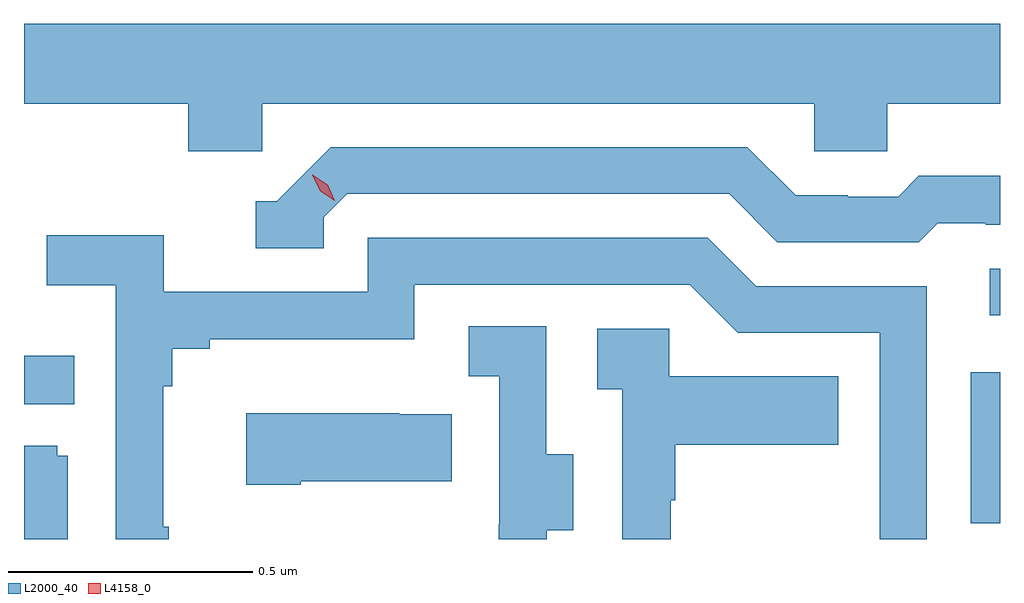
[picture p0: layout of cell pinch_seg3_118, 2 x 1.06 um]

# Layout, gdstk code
import gdstk
lib = gdstk.Library(unit=1e-6, precision=1e-09)
def R(c, l, rs):  # rectangles x0, y0, x1, y1
    for r in rs: c.add(gdstk.rectangle(r[:2], r[2:], *l))
def P(c, l, *ps):  # polygons
    for p in ps: c.add(gdstk.Polygon(p, *l))
L2000_40 = (2000, 40)
L4158_0 = (4158, 0)

pinch_seg3_118 = lib.new_cell('pinch_seg3_118')
R(pinch_seg3_118, L2000_40, [(1035.816,713.376,1035.876,713.686), (1033.876,713.62,1033.979,713.719), (1035.855,713.802,1035.876,713.898)])
P(pinch_seg3_118, L2000_40, [(1034.364,714.236),(1035.495,714.236),(1035.495,714.138),(1035.645,714.138),(1035.645,714.236),(1035.876,714.236),(1035.876,714.4),(1033.876,714.4),(1033.876,714.236),(1034.213,714.236),(1034.213,714.138),(1034.364,714.138)],
  [(1034.49,714.003),(1034.538,714.051),(1035.321,714.051),(1035.42,713.952),(1035.709,713.952),(1035.748,713.991),(1035.847,713.991),(1035.847,713.988),(1035.876,713.988),(1035.876,714.088),(1035.709,714.088),(1035.667,714.045),(1035.564,714.045),(1035.564,714.048),(1035.457,714.048),(1035.358,714.147),(1034.505,714.147),(1034.394,714.036),(1034.351,714.036),(1034.351,713.94),(1034.49,713.94)],
  [(1034.173,713.369),(1034.161,713.369),(1034.161,713.657),(1034.18,713.657),(1034.18,713.734),(1034.257,713.734),(1034.257,713.753),(1034.676,713.753),(1034.676,713.865),(1035.24,713.865),(1035.339,713.766),(1035.63,713.766),(1035.63,713.343),(1035.726,713.343),(1035.726,713.862),(1035.376,713.862),(1035.277,713.961),(1034.58,713.961),(1034.58,713.85),(1034.162,713.85),(1034.162,713.966),(1033.923,713.966),(1033.923,713.864),(1034.064,713.864),(1034.064,713.343),(1034.173,713.343)],
  [(1034.947,713.362),(1035.001,713.362),(1035.001,713.517),(1034.946,713.517),(1034.946,713.78),(1034.787,713.78),(1034.787,713.677),(1034.85,713.677),(1034.85,713.373),(1034.849,713.373),(1034.849,713.343),(1034.947,713.343)],
  [(1035.201,713.423),(1035.211,713.423),(1035.211,713.537),(1035.545,713.537),(1035.545,713.677),(1035.198,713.677),(1035.198,713.775),(1035.051,713.775),(1035.051,713.651),(1035.102,713.651),(1035.102,713.343),(1035.201,713.343)],
  [(1034.443,713.462),(1034.753,713.462),(1034.753,713.599),(1034.645,713.599),(1034.645,713.602),(1034.331,713.602),(1034.331,713.455),(1034.443,713.455)],
  [(1033.966,713.514),(1033.944,713.514),(1033.944,713.535),(1033.876,713.535),(1033.876,713.343),(1033.966,713.343)])
P(pinch_seg3_118, L4158_0, [(1034.513,714.037),(1034.483,714.056),(1034.467,714.089),(1034.467,714.09),(1034.468,714.09),(1034.498,714.07),(1034.513,714.037),(1034.513,714.037)])

lib.write_gds('pinch_seg3_118.gds')
